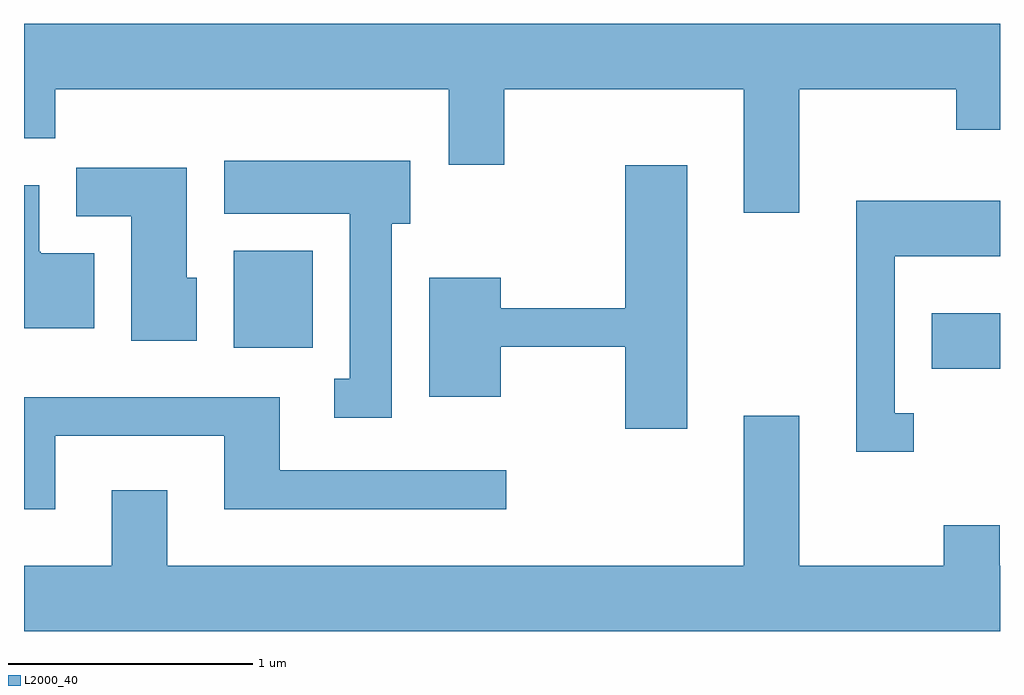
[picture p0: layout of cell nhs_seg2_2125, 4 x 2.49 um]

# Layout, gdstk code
import gdstk
lib = gdstk.Library(unit=1e-6, precision=1e-09)
def R(c, l, rs):  # rectangles x0, y0, x1, y1
    for r in rs: c.add(gdstk.rectangle(r[:2], r[2:], *l))
def P(c, l, *ps):  # polygons
    for p in ps: c.add(gdstk.Polygon(p, *l))
L2000_40 = (2000, 40)

nhs_seg2_2125 = lib.new_cell('nhs_seg2_2125')
R(nhs_seg2_2125, L2000_40, [(251.331,1013.871,251.611,1014.099), (248.471,1013.956,248.794,1014.354)])
P(nhs_seg2_2125, L2000_40, [(250.789,1015.016),(251.431,1015.016),(251.431,1014.851),(251.611,1014.851),(251.611,1015.284),(247.611,1015.284),(247.611,1014.816),(247.739,1014.816),(247.739,1015.016),(249.351,1015.016),(249.351,1014.706),(249.579,1014.706),(249.579,1015.016),(250.561,1015.016),(250.561,1014.511),(250.789,1014.511)],
  [(249.119,1014.466),(249.194,1014.466),(249.194,1014.724),(248.431,1014.724),(248.431,1014.506),(248.946,1014.506),(248.946,1013.829),(248.883,1013.829),(248.883,1013.671),(249.119,1013.671)],
  [(250.329,1014.704),(250.076,1014.704),(250.076,1014.119),(249.564,1014.119),(249.564,1014.244),(249.271,1014.244),(249.271,1013.756),(249.564,1013.756),(249.564,1013.961),(250.076,1013.961),(250.076,1013.626),(250.329,1013.626)],
  [(248.319,1014.244),(248.279,1014.244),(248.279,1014.694),(247.826,1014.694),(247.826,1014.496),(248.051,1014.496),(248.051,1013.986),(248.319,1013.986)],
  [(247.899,1014.344),(247.68,1014.344),(247.68,1014.35),(247.674,1014.35),(247.674,1014.624),(247.611,1014.624),(247.611,1014.036),(247.899,1014.036)],
  [(251.258,1013.689),(251.179,1013.689),(251.179,1014.331),(251.611,1014.331),(251.611,1014.559),(251.021,1014.559),(251.021,1013.531),(251.258,1013.531)],
  [(247.739,1013.596),(248.431,1013.596),(248.431,1013.296),(249.588,1013.296),(249.588,1013.454),(248.659,1013.454),(248.659,1013.754),(247.611,1013.754),(247.611,1013.296),(247.739,1013.296)],
  [(251.611,1013.064),(251.609,1013.064),(251.609,1013.229),(251.381,1013.229),(251.381,1013.064),(250.789,1013.064),(250.789,1013.679),(250.561,1013.679),(250.561,1013.064),(248.199,1013.064),(248.199,1013.374),(247.971,1013.374),(247.971,1013.064),(247.611,1013.064),(247.611,1012.796),(251.611,1012.796)])

lib.write_gds('nhs_seg2_2125.gds')
